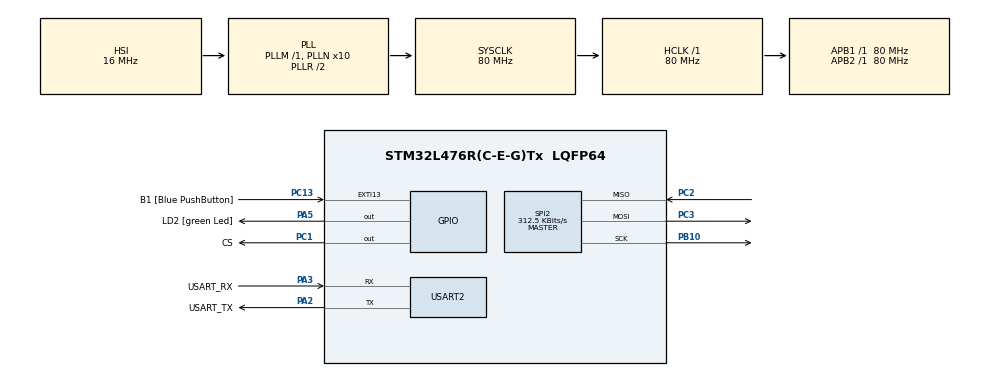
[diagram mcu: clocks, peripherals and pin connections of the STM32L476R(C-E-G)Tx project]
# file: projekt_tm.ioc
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Mcu.Family=STM32L4
Mcu.Name=STM32L476R(C-E-G)Tx
Mcu.Package=LQFP64
NVIC.PriorityGroup=NVIC_PRIORITYGROUP_4
NVIC.USART2_IRQn=true\:0\:0\:false\:false\:true\:true\:true\:true
PA13\ (JTMS-SWDIO).GPIO_Label=TMS
PA13\ (JTMS-SWDIO).Mode=Serial_Wire
PA13\ (JTMS-SWDIO).Signal=SYS_JTMS-SWDIO
PA14\ (JTCK-SWCLK).GPIO_Label=TCK
PA14\ (JTCK-SWCLK).Mode=Serial_Wire
PA14\ (JTCK-SWCLK).Signal=SYS_JTCK-SWCLK
PA2.GPIO_Label=USART_TX
PA2.GPIO_Mode=GPIO_MODE_AF_PP
PA2.GPIO_PuPd=GPIO_NOPULL
PA2.GPIO_Speed=GPIO_SPEED_FREQ_VERY_HIGH
PA2.Mode=Asynchronous
PA2.Signal=USART2_TX
PA3.GPIO_Label=USART_RX
PA3.GPIO_Mode=GPIO_MODE_AF_PP
PA3.GPIO_PuPd=GPIO_NOPULL
PA3.GPIO_Speed=GPIO_SPEED_FREQ_VERY_HIGH
PA3.Mode=Asynchronous
PA3.Signal=USART2_RX
PA5.GPIO_Label=LD2 [green Led]
PA5.GPIO_ModeDefaultOutputPP=GPIO_MODE_OUTPUT_PP
PA5.GPIO_PuPd=GPIO_NOPULL
PA5.GPIO_Speed=GPIO_SPEED_FREQ_LOW
PA5.Signal=GPIO_Output
PB10.Mode=Full_Duplex_Master
PB10.Signal=SPI2_SCK
PB3\ (JTDO-TRACESWO).GPIO_Label=SWO
PB3\ (JTDO-TRACESWO).Signal=SYS_JTDO-SWO
PC1.GPIO_Label=CS
PC1.PinState=GPIO_PIN_SET
PC1.Signal=GPIO_Output
PC13.GPIO_Label=B1 [Blue PushButton]
PC13.GPIO_ModeDefaultEXTI=GPIO_MODE_IT_FALLING
PC13.GPIO_PuPd=GPIO_NOPULL
PC13.Signal=GPXTI13
PC14-OSC32_IN\ (PC14).Mode=LSE-External-Oscillator
PC14-OSC32_IN\ (PC14).Signal=RCC_OSC32_IN
PC15-OSC32_OUT\ (PC15).Mode=LSE-External-Oscillator
PC15-OSC32_OUT\ (PC15).Signal=RCC_OSC32_OUT
PC2.Mode=Full_Duplex_Master
PC2.Signal=SPI2_MISO
PC3.Mode=Full_Duplex_Master
PC3.Signal=SPI2_MOSI
PH0-OSC_IN\ (PH0).Signal=RCC_OSC_IN
PH1-OSC_OUT\ (PH1).Signal=RCC_OSC_OUT
ProjectManager.HeapSize=0x200
ProjectManager.StackSize=0x400
ProjectManager.TargetToolchain=STM32CubeIDE
RCC.ADCFreq_Value=64000000
RCC.AHBFreq_Value=80000000
RCC.APB1Freq_Value=80000000
RCC.APB1TimFreq_Value=80000000
RCC.APB2Freq_Value=80000000
RCC.APB2TimFreq_Value=80000000
RCC.CortexFreq_Value=80000000
RCC.HCLKFreq_Value=80000000
RCC.HSE_VALUE=8000000
RCC.HSI_VALUE=16000000
RCC.MSI_VALUE=4000000
RCC.PLLN=10
RCC.PLLSourceVirtual=RCC_PLLSOURCE_HSI
RCC.PREFETCH_ENABLE=1
RCC.SYSCLKFreq_VALUE=80000000
RCC.SYSCLKSource=RCC_SYSCLKSOURCE_PLLCLK
RCC.USBFreq_Value=64000000
RCC.VCOOutputFreq_Value=160000000
SPI2.BaudRatePrescaler=SPI_BAUDRATEPRESCALER_256
SPI2.CalculateBaudRate=312.5 KBits/s
SPI2.DataSize=SPI_DATASIZE_8BIT
SPI2.Direction=SPI_DIRECTION_2LINES
SPI2.Mode=SPI_MODE_MASTER
SPI2.VirtualType=VM_MASTER
USART2.VirtualMode-Asynchronous=VM_ASYNC
board=NUCLEO-L476RG

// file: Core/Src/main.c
/* USER CODE BEGIN Header */
/**
  ******************************************************************************
  * @file           : main.c
  * @brief          : Main program body
  ******************************************************************************
  * @attention
  *
  * Copyright (c) 2024 STMicroelectronics.
  * All rights reserved.
  *
  * This software is licensed under terms that can be found in the LICENSE file
  * in the root directory of this software component.
  * If no LICENSE file comes with this software, it is provided AS-IS.
  *
  ******************************************************************************
  */
/* USER CODE END Header */
#include "main.h"

/* USER CODE BEGIN Includes */
#include <stdlib.h>
#include <string.h>
#include <stdio.h>
#include "dft.h"
#include "MAX7219.h"

/* USER CODE END Includes */

/* USER CODE BEGIN PD */
#define SIZE 8

/* USER CODE END PD */

SPI_HandleTypeDef hspi2;

UART_HandleTypeDef huart2;

void SystemClock_Config(void);
static void MX_GPIO_Init(void);
static void MX_USART2_UART_Init(void);
static void MX_SPI2_Init(void);

/* USER CODE BEGIN 0 */

char receivedByte;
char RxData[255];
uint8_t Rx_i = 0;
uint8_t DataReceived = 0;

char TxData[255];
uint8_t size;

uint8_t DataReadyFlag = 0;

Complex input[8];
Complex output[8];
uint8_t dft_bars[8];

void HAL_UART_RxCpltCallback(UART_HandleTypeDef *huart) {
	if(receivedByte == '\n' || receivedByte == '\r'){
		DataReceived = 1;
		Rx_i = 0;
		HAL_UART_Receive_IT(huart, (uint8_t*)&receivedByte, 1);
		return;
	}
	RxData[Rx_i++] = receivedByte;

	HAL_UART_Receive_IT(huart, (uint8_t*)&receivedByte, 1);

}

void HAL_UART_TxCpltCallback(UART_HandleTypeDef *huart) {

}

/* USER CODE END 0 */

int main(void)
{

  /* MCU Configuration--------------------------------------------------------*/

  /* Reset of all peripherals, Initializes the Flash interface and the Systick. */
  HAL_Init();

  /* Configure the system clock */
  SystemClock_Config();

  /* Initialize all configured peripherals */
  MX_GPIO_Init();
  MX_USART2_UART_Init();
  MX_SPI2_Init();
  /* USER CODE BEGIN 2 */
  HAL_UART_Receive_IT(&huart2, (uint8_t*)&receivedByte, 1);
  max7219_init();
  max7219_turnOn();

  /* USER CODE END 2 */

  /* Infinite loop */
  /* USER CODE BEGIN WHILE */
  while (1)
  {

	if(DataReceived) {
		DataReceived = 0;

		char* token;
		token = strtok(RxData,",");

		for(int i = 0; i < SIZE; i++) {
			input[i].real = atof(token);
			token = strtok(NULL,",");
			input[i].imag = atof(token);
			token = strtok(NULL,",");
		}

		DFT(input, output, SIZE);
		DFT_bars(output, dft_bars, SIZE);

		for(int i = 0; i < SIZE; i++){
			max7219_setRow((SIZE-i), dft_bars[i]);
		}

		size = sprintf(TxData,"%.2f,%.2f,%.2f,%.2f,%.2f,%.2f,%.2f,%.2f,%.2f,%.2f,%.2f,%.2f,%.2f,%.2f,%.2f,%.2f\n",
				output[0].real, output[0].imag,
				output[1].real, output[1].imag,
				output[2].real, output[2].imag,
				output[3].real, output[3].imag,
				output[4].real, output[4].imag,
				output[5].real, output[5].imag,
				output[6].real, output[6].imag,
				output[7].real, output[7].imag
				);

		HAL_UART_Transmit_IT(&huart2, (uint8_t*)TxData, size);

	}
    /* USER CODE END WHILE */

  }
}

void SystemClock_Config(void)
{
  RCC_OscInitTypeDef RCC_OscInitStruct = {0};
  RCC_ClkInitTypeDef RCC_ClkInitStruct = {0};

  /** Configure the main internal regulator output voltage
  */
  if (HAL_PWREx_ControlVoltageScaling(PWR_REGULATOR_VOLTAGE_SCALE1) != HAL_OK)
  {
    Error_Handler();
  }

  /** Initializes the RCC Oscillators according to the specified parameters
  * in the RCC_OscInitTypeDef structure.
  */
  RCC_OscInitStruct.OscillatorType = RCC_OSCILLATORTYPE_HSI;
  RCC_OscInitStruct.HSIState = RCC_HSI_ON;
  RCC_OscInitStruct.HSICalibrationValue = RCC_HSICALIBRATION_DEFAULT;
  RCC_OscInitStruct.PLL.PLLState = RCC_PLL_ON;
  RCC_OscInitStruct.PLL.PLLSource = RCC_PLLSOURCE_HSI;
  RCC_OscInitStruct.PLL.PLLM = 1;
  RCC_OscInitStruct.PLL.PLLN = 10;
  RCC_OscInitStruct.PLL.PLLP = RCC_PLLP_DIV7;
  RCC_OscInitStruct.PLL.PLLQ = RCC_PLLQ_DIV2;
  RCC_OscInitStruct.PLL.PLLR = RCC_PLLR_DIV2;
  if (HAL_RCC_OscConfig(&RCC_OscInitStruct) != HAL_OK)
  {
    Error_Handler();
  }

  /** Initializes the CPU, AHB and APB buses clocks
  */
  RCC_ClkInitStruct.ClockType = RCC_CLOCKTYPE_HCLK|RCC_CLOCKTYPE_SYSCLK
                              |RCC_CLOCKTYPE_PCLK1|RCC_CLOCKTYPE_PCLK2;
  RCC_ClkInitStruct.SYSCLKSource = RCC_SYSCLKSOURCE_PLLCLK;
  RCC_ClkInitStruct.AHBCLKDivider = RCC_SYSCLK_DIV1;
  RCC_ClkInitStruct.APB1CLKDivider = RCC_HCLK_DIV1;
  RCC_ClkInitStruct.APB2CLKDivider = RCC_HCLK_DIV1;

  if (HAL_RCC_ClockConfig(&RCC_ClkInitStruct, FLASH_LATENCY_4) != HAL_OK)
  {
    Error_Handler();
  }
}

static void MX_SPI2_Init(void)
{

  /* SPI2 parameter configuration*/
  hspi2.Instance = SPI2;
  hspi2.Init.Mode = SPI_MODE_MASTER;
  hspi2.Init.Direction = SPI_DIRECTION_2LINES;
  hspi2.Init.DataSize = SPI_DATASIZE_8BIT;
  hspi2.Init.CLKPolarity = SPI_POLARITY_LOW;
  hspi2.Init.CLKPhase = SPI_PHASE_1EDGE;
  hspi2.Init.NSS = SPI_NSS_SOFT;
  hspi2.Init.BaudRatePrescaler = SPI_BAUDRATEPRESCALER_256;
  hspi2.Init.FirstBit = SPI_FIRSTBIT_MSB;
  hspi2.Init.TIMode = SPI_TIMODE_DISABLE;
  hspi2.Init.CRCCalculation = SPI_CRCCALCULATION_DISABLE;
  hspi2.Init.CRCPolynomial = 7;
  hspi2.Init.CRCLength = SPI_CRC_LENGTH_DATASIZE;
  hspi2.Init.NSSPMode = SPI_NSS_PULSE_ENABLE;
  if (HAL_SPI_Init(&hspi2) != HAL_OK)
  {
    Error_Handler();
  }

}

static void MX_USART2_UART_Init(void)
{

  huart2.Instance = USART2;
  huart2.Init.BaudRate = 115200;
  huart2.Init.WordLength = UART_WORDLENGTH_8B;
  huart2.Init.StopBits = UART_STOPBITS_1;
  huart2.Init.Parity = UART_PARITY_NONE;
  huart2.Init.Mode = UART_MODE_TX_RX;
  huart2.Init.HwFlowCtl = UART_HWCONTROL_NONE;
  huart2.Init.OverSampling = UART_OVERSAMPLING_16;
  huart2.Init.OneBitSampling = UART_ONE_BIT_SAMPLE_DISABLE;
  huart2.AdvancedInit.AdvFeatureInit = UART_ADVFEATURE_NO_INIT;
  if (HAL_UART_Init(&huart2) != HAL_OK)
  {
    Error_Handler();
  }

}

static void MX_GPIO_Init(void)
{
  GPIO_InitTypeDef GPIO_InitStruct = {0};

  /* GPIO Ports Clock Enable */
  __HAL_RCC_GPIOC_CLK_ENABLE();
  __HAL_RCC_GPIOH_CLK_ENABLE();
  __HAL_RCC_GPIOA_CLK_ENABLE();
  __HAL_RCC_GPIOB_CLK_ENABLE();

  /*Configure GPIO pin Output Level */
  HAL_GPIO_WritePin(CS_GPIO_Port, CS_Pin, GPIO_PIN_SET);

  /*Configure GPIO pin Output Level */
  HAL_GPIO_WritePin(LD2_GPIO_Port, LD2_Pin, GPIO_PIN_RESET);

  /*Configure GPIO pin : B1_Pin */
  GPIO_InitStruct.Pin = B1_Pin;
  GPIO_InitStruct.Mode = GPIO_MODE_IT_FALLING;
  GPIO_InitStruct.Pull = GPIO_NOPULL;
  HAL_GPIO_Init(B1_GPIO_Port, &GPIO_InitStruct);

  /*Configure GPIO pin : CS_Pin */
  GPIO_InitStruct.Pin = CS_Pin;
  GPIO_InitStruct.Mode = GPIO_MODE_OUTPUT_PP;
  GPIO_InitStruct.Pull = GPIO_NOPULL;
  GPIO_InitStruct.Speed = GPIO_SPEED_FREQ_LOW;
  HAL_GPIO_Init(CS_GPIO_Port, &GPIO_InitStruct);

  /*Configure GPIO pin : LD2_Pin */
  GPIO_InitStruct.Pin = LD2_Pin;
  GPIO_InitStruct.Mode = GPIO_MODE_OUTPUT_PP;
  GPIO_InitStruct.Pull = GPIO_NOPULL;
  GPIO_InitStruct.Speed = GPIO_SPEED_FREQ_LOW;
  HAL_GPIO_Init(LD2_GPIO_Port, &GPIO_InitStruct);

}

void Error_Handler(void)
{
  __disable_irq();
  while (1)
  {
  }
}
